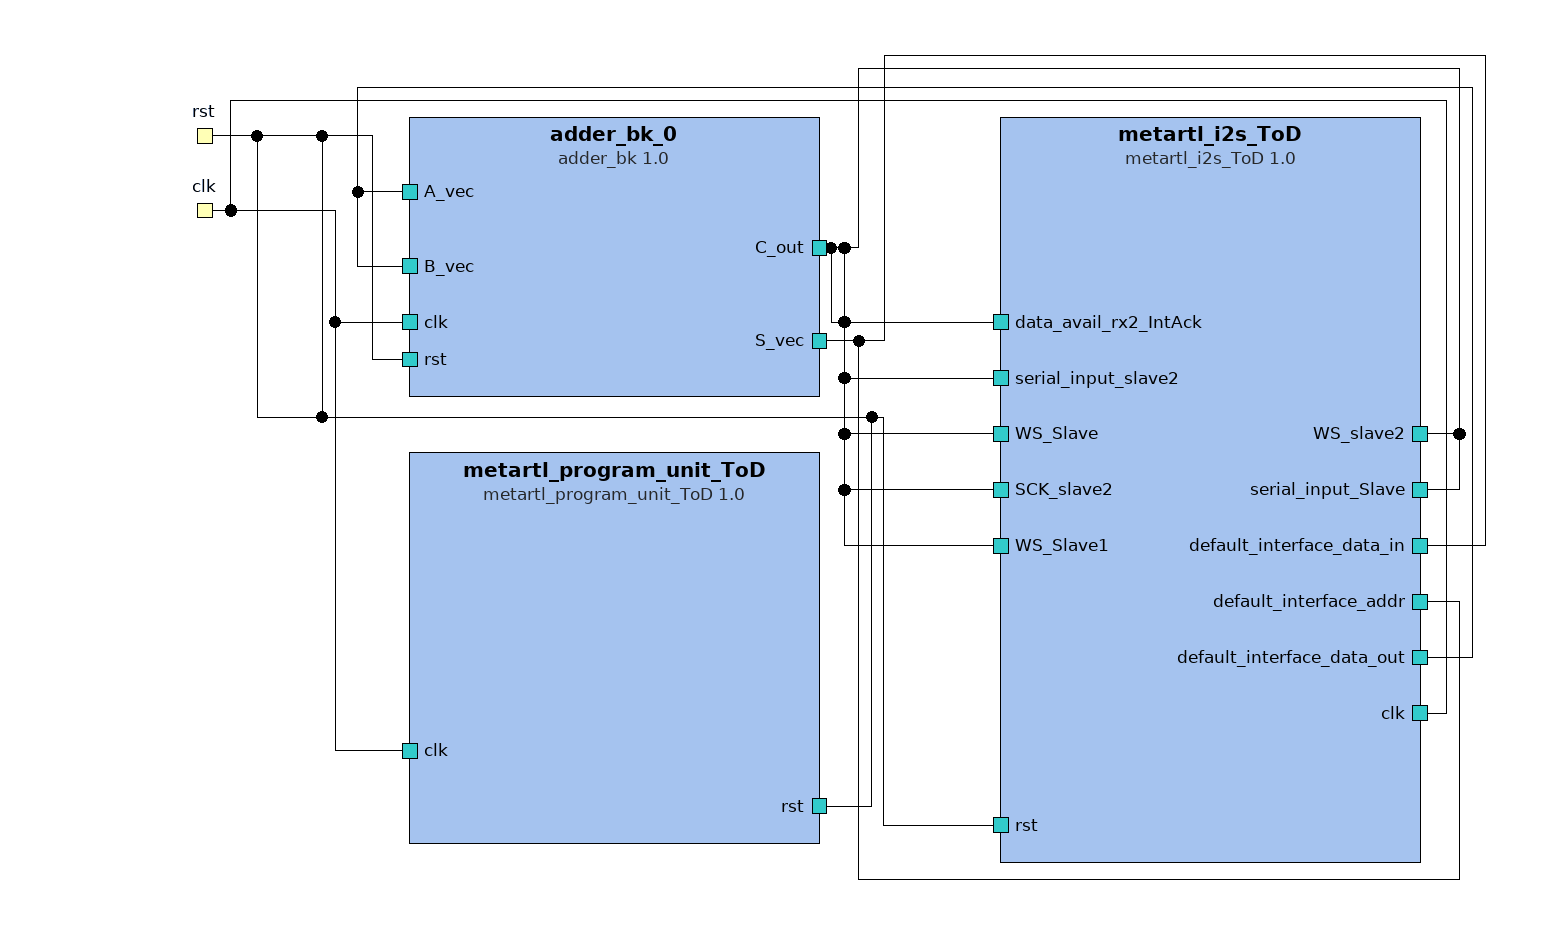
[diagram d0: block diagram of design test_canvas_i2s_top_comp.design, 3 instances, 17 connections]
<?xml version="1.0" encoding="UTF-8"?>
<ipxact:design xmlns:xsi="http://www.w3.org/2001/XMLSchema-instance" xmlns:ipxact="http://www.accellera.org/XMLSchema/IPXACT/1685-2014" xmlns:kactus2="http://kactus2.cs.tut.fi" xsi:schemaLocation="http://www.accellera.org/XMLSchema/IPXACT/1685-2014 http://www.accellera.org/XMLSchema/IPXACT/1685-2014/index.xsd"><ipxact:vendor>ifx_adhoc</ipxact:vendor><ipxact:library>from_mod_adhoc_design</ipxact:library>
 <ipxact:name>test_canvas_i2s_top_comp.design</ipxact:name><ipxact:version>1.0</ipxact:version><ipxact:componentInstances>
 <ipxact:componentInstance><ipxact:instanceName>metartl_i2s_ToD</ipxact:instanceName><ipxact:componentRef vendor="ifx_adhoc" library="from_mod_adhoc_component" name="metartl_i2s_ToD" version="1.0"/></ipxact:componentInstance>
 <ipxact:componentInstance><ipxact:instanceName>adder_bk_0</ipxact:instanceName><ipxact:componentRef vendor="test" library="from_mod" name="adder_bk" version="1.0"/></ipxact:componentInstance>
 <ipxact:componentInstance><ipxact:instanceName>metartl_program_unit_ToD</ipxact:instanceName><ipxact:componentRef vendor="ifx_adhoc" library="from_mod_adhoc_component" name="metartl_program_unit_ToD" version="1.0"/></ipxact:componentInstance>
</ipxact:componentInstances><ipxact:adHocConnections>
 <ipxact:adHocConnection><ipxact:name>metartl_i2s_ToD_clk_to_clk</ipxact:name><ipxact:portReferences><ipxact:internalPortReference componentRef="metartl_i2s_ToD" portRef="clk"/><ipxact:externalPortReference portRef="clk"/></ipxact:portReferences></ipxact:adHocConnection>
 <ipxact:adHocConnection><ipxact:name>metartl_i2s_ToD_rst_to_rst</ipxact:name><ipxact:portReferences><ipxact:internalPortReference componentRef="metartl_i2s_ToD" portRef="rst"/><ipxact:externalPortReference portRef="rst"/></ipxact:portReferences></ipxact:adHocConnection>
 <ipxact:adHocConnection><ipxact:name>adder_bk_0_C_out_to_metartl_i2s_ToD_data_avail_rx2_IntAck</ipxact:name><ipxact:portReferences><ipxact:internalPortReference componentRef="adder_bk_0" portRef="C_out"/><ipxact:internalPortReference componentRef="metartl_i2s_ToD" portRef="data_avail_rx2_IntAck"/></ipxact:portReferences></ipxact:adHocConnection>
 <ipxact:adHocConnection><ipxact:name>adder_bk_0_C_out_to_metartl_i2s_ToD_serial_input_slave2</ipxact:name><ipxact:portReferences><ipxact:internalPortReference componentRef="adder_bk_0" portRef="C_out"/><ipxact:internalPortReference componentRef="metartl_i2s_ToD" portRef="serial_input_slave2"/></ipxact:portReferences></ipxact:adHocConnection>
 <ipxact:adHocConnection><ipxact:name>adder_bk_0_C_out_to_metartl_i2s_ToD_WS_Slave</ipxact:name><ipxact:portReferences><ipxact:internalPortReference componentRef="adder_bk_0" portRef="C_out"/><ipxact:internalPortReference componentRef="metartl_i2s_ToD" portRef="WS_Slave"/></ipxact:portReferences></ipxact:adHocConnection>
 <ipxact:adHocConnection><ipxact:name>adder_bk_0_C_out_to_metartl_i2s_ToD_SCK_slave2</ipxact:name><ipxact:portReferences><ipxact:internalPortReference componentRef="adder_bk_0" portRef="C_out"/><ipxact:internalPortReference componentRef="metartl_i2s_ToD" portRef="SCK_slave2"/></ipxact:portReferences></ipxact:adHocConnection>
 <ipxact:adHocConnection><ipxact:name>adder_bk_0_C_out_to_metartl_i2s_ToD_WS_Slave1</ipxact:name><ipxact:portReferences><ipxact:internalPortReference componentRef="adder_bk_0" portRef="C_out"/><ipxact:internalPortReference componentRef="metartl_i2s_ToD" portRef="WS_Slave1"/></ipxact:portReferences></ipxact:adHocConnection>
 <ipxact:adHocConnection><ipxact:name>adder_bk_0_rst_to_rst</ipxact:name><ipxact:portReferences><ipxact:internalPortReference componentRef="adder_bk_0" portRef="rst"/><ipxact:externalPortReference portRef="rst"/></ipxact:portReferences></ipxact:adHocConnection>
 <ipxact:adHocConnection><ipxact:name>adder_bk_0_clk_to_clk</ipxact:name><ipxact:portReferences><ipxact:internalPortReference componentRef="adder_bk_0" portRef="clk"/><ipxact:externalPortReference portRef="clk"/></ipxact:portReferences></ipxact:adHocConnection>
 <ipxact:adHocConnection><ipxact:name>metartl_i2s_ToD_default_interface_data_out_to_adder_bk_0_B_vec</ipxact:name><ipxact:portReferences><ipxact:internalPortReference componentRef="metartl_i2s_ToD" portRef="default_interface_data_out"/><ipxact:internalPortReference componentRef="adder_bk_0" portRef="B_vec"/></ipxact:portReferences></ipxact:adHocConnection>
 <ipxact:adHocConnection><ipxact:name>metartl_i2s_ToD_default_interface_data_out_to_adder_bk_0_A_vec</ipxact:name><ipxact:portReferences><ipxact:internalPortReference componentRef="metartl_i2s_ToD" portRef="default_interface_data_out"/><ipxact:internalPortReference componentRef="adder_bk_0" portRef="A_vec"/></ipxact:portReferences></ipxact:adHocConnection>
 <ipxact:adHocConnection><ipxact:name>adder_bk_0_C_out_to_metartl_i2s_ToD_WS_slave2</ipxact:name><ipxact:portReferences><ipxact:internalPortReference componentRef="adder_bk_0" portRef="C_out"/><ipxact:internalPortReference componentRef="metartl_i2s_ToD" portRef="WS_slave2"/></ipxact:portReferences></ipxact:adHocConnection>
 <ipxact:adHocConnection><ipxact:name>adder_bk_0_C_out_to_metartl_i2s_ToD_serial_input_Slave</ipxact:name><ipxact:portReferences><ipxact:internalPortReference componentRef="adder_bk_0" portRef="C_out"/><ipxact:internalPortReference componentRef="metartl_i2s_ToD" portRef="serial_input_Slave"/></ipxact:portReferences></ipxact:adHocConnection>
 <ipxact:adHocConnection><ipxact:name>adder_bk_0_S_vec_to_metartl_i2s_ToD_default_interface_data_in</ipxact:name><ipxact:portReferences><ipxact:internalPortReference componentRef="adder_bk_0" portRef="S_vec"/><ipxact:internalPortReference componentRef="metartl_i2s_ToD" portRef="default_interface_data_in"/></ipxact:portReferences></ipxact:adHocConnection>
 <ipxact:adHocConnection><ipxact:name>adder_bk_0_S_vec_to_metartl_i2s_ToD_default_interface_addr</ipxact:name><ipxact:portReferences><ipxact:internalPortReference componentRef="adder_bk_0" portRef="S_vec"/><ipxact:internalPortReference componentRef="metartl_i2s_ToD" portRef="default_interface_addr"/></ipxact:portReferences></ipxact:adHocConnection>
 <ipxact:adHocConnection><ipxact:name>metartl_program_unit_ToD_clk_to_clk</ipxact:name><ipxact:portReferences><ipxact:internalPortReference componentRef="metartl_program_unit_ToD" portRef="clk"/><ipxact:externalPortReference portRef="clk"/></ipxact:portReferences></ipxact:adHocConnection>
 <ipxact:adHocConnection><ipxact:name>metartl_program_unit_ToD_rst_to_rst</ipxact:name><ipxact:portReferences><ipxact:internalPortReference componentRef="metartl_program_unit_ToD" portRef="rst"/><ipxact:externalPortReference portRef="rst"/></ipxact:portReferences></ipxact:adHocConnection>
</ipxact:adHocConnections></ipxact:design>

